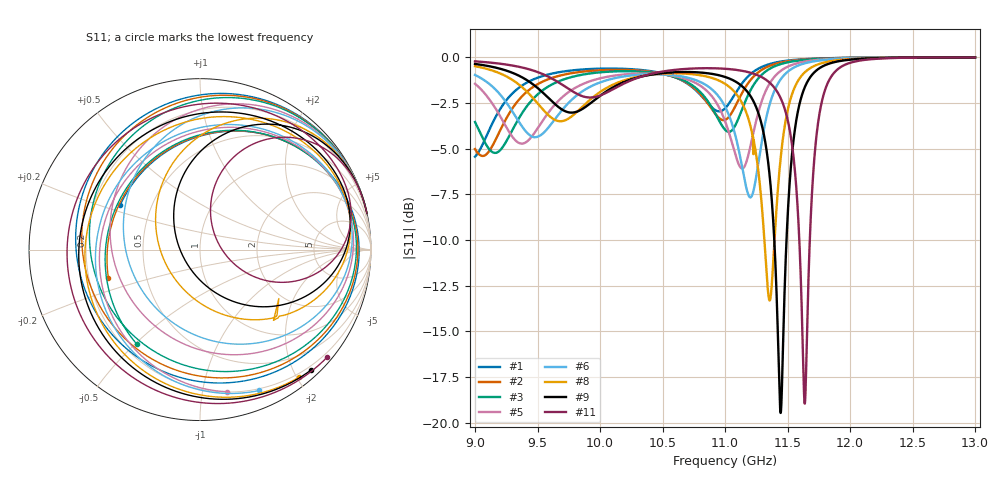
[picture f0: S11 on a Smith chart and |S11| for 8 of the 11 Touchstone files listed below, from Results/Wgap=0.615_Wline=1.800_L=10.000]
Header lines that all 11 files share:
! TOUCHSTONE file generated by CST DESIGN STUDIO
! Project name: C:\Work\MatlabApps\UnitCellOptimizationMatlab\CST\unitcell.cst
! Tree item: Tasks\Sweep1\SPara1\S-Parameters
! Header version: 2024
! Port assignment regex: !\s*Touchstone port\s*([0-9]+)\s*=\s*(CST MWS port|CST DES external port|CST DES block port)\s*(.+)\s* \(\"(.*)\"\)(\s*mode\s*([0-9]+))?.*
! Touchstone port assignment:
! Touchstone port 1 = CST DES external port 1 ("")
# GHz S MA R 50
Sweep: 9 GHz to 13 GHz
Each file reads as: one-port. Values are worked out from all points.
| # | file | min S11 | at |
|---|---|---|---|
| 1 | DS_for_MWS-run-0001.s1p | -5.4 dB | 9 GHz |
| 2 | DS_for_MWS-run-0002.s1p | -5.4 dB | 9.062 GHz |
| 3 | DS_for_MWS-run-0003.s1p | -5.2 dB | 9.161 GHz |
| 4 | DS_for_MWS-run-0004.s1p | -5.0 dB | 9.265 GHz |
| 5 | DS_for_MWS-run-0005.s1p | -6.1 dB | 11.14 GHz |
| 6 | DS_for_MWS-run-0006.s1p | -7.7 dB | 11.2 GHz |
| 7 | DS_for_MWS-run-0007.s1p | -9.9 dB | 11.28 GHz |
| 8 | DS_for_MWS-run-0008.s1p | -13.3 dB | 11.36 GHz |
| 9 | DS_for_MWS-run-0009.s1p | -19.5 dB | 11.45 GHz |
| 10 | DS_for_MWS-run-0010.s1p | -45.8 dB | 11.54 GHz |
| 11 | DS_for_MWS-run-0011.s1p | -18.9 dB | 11.64 GHz |
